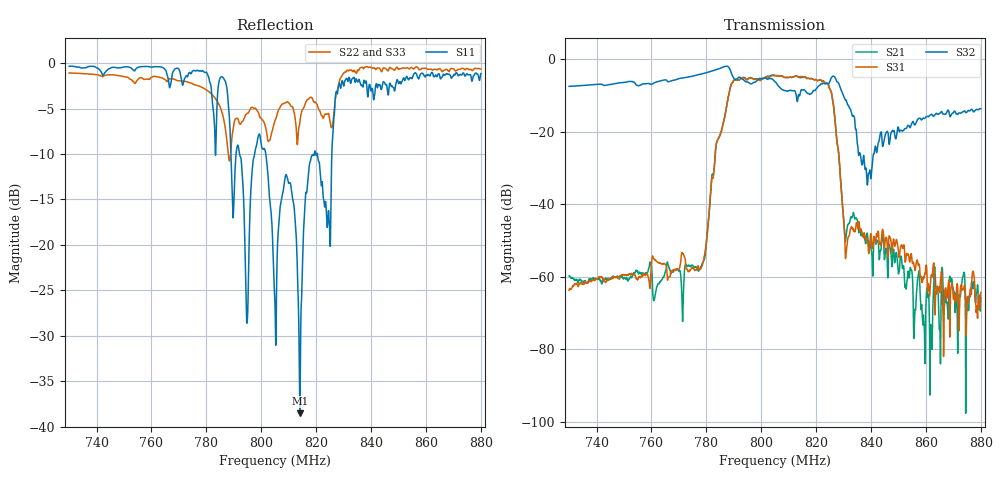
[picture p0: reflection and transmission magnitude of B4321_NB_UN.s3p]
! Matrix data file written by TouchstoneData, EPCOS AG
! FILENAME: "B4321_X10Y10_NB.snp"
! COMMENT: "(TS/B4321_X10Y10_NB.s3p) Epcos AG 2/4/2013 2"
! INFO: nport=3, nfreq=1601
! DATE: "Fri Mar  1 16:14:49 2013"
! USER: "Dan Wang"
! port | pin | signal
!  1  |  1  |  Input
!  2  |  3  |  Output
!  3  |  4  |  Output
# MHZ S RI R 50
! freq  reS11 imS11  reS12 imS12  reS13 imS13  ...
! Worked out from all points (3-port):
!   1601 points, 730 MHz to 880 MHz, reference 50 ohm
!   strongest paths, dB at 730 MHz, 767.5 MHz, 805 MHz, 842.5 MHz, 880 MHz:
!     S32: -7.4, -5.9, -6.2, -23.5, -13.6
!     S31: -63.7, -58.5, -4.5, -47.4, -64.3
!     S21: -59.8, -58.8, -4.4, -50.1, -65.9
!   lowest |S11| = -38.5 dB at 814.1 MHz (marker M1), VSWR 1.02, Z = 49.9 + j1.17 ohm
!   |S11| at or under -10 dB: 792.1 MHz to 797.6 MHz (5.485 MHz wide, 0.69 % of centre); 801.7 MHz to 819.3 MHz (17.65 MHz wide, 2.18 % of centre); 820.4 MHz to 825.7 MHz (5.279 MHz wide, 0.641 % of centre) (the widest 3 of 6)
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730  -0.574 -0.7726  -0.00102 -8.78e-05  -0.00064 -0.000116
     -0.00102 -8.78e-05  0.6045 -0.6464  0.317 0.2823
     -0.00064 -0.000116  0.317 0.2823  0.5985 -0.6523
771.3438  -0.6899 -0.3125  -0.000241 -1.18e-05  -0.00207 0.000292
          -0.000241 -1.18e-05  0.4353 -0.6679  0.4765 0.2823
          -0.00207 0.000292  0.4765 0.2823  0.4288 -0.6721
778.5625  -0.8981 -0.1483  -0.0015 -0.00034  -0.00129 0.000696
          -0.0015 -0.00034  0.3318 -0.6561  0.5769 0.261
          -0.00129 0.000696  0.5769 0.261  0.3273 -0.6573
789.25  -0.1052 0.1929  0.4657 0.0238  -0.4647 -0.0193
        0.4657 0.0238  0.3095 -0.2222  0.5919 -0.1853
        -0.4647 -0.0193  0.5919 -0.1853  0.3086 -0.2269
805  -0.0444 -0.0167  0.2803 0.5307  -0.2832 -0.5226
     0.2803 0.5307  0.4506 -0.1772  0.4357 -0.2213
     -0.2832 -0.5226  0.4357 -0.2213  0.4563 -0.1899
814.0938  -0.00136 0.0117  0.2146 -0.5136  -0.2311 0.529
          0.2146 -0.5136  0.4641 -0.1153  0.3249 -0.0446
          -0.2311 0.529  0.3249 -0.0446  0.4328 -0.135
825.1562  0.0976 0.0114  0.2148 0.3133  -0.2138 -0.3086
          0.2148 0.3133  0.4493 -0.1349  0.4483 -0.2554
          -0.2138 -0.3086  0.4483 -0.2554  0.456 -0.1395
831.1562  0.4881 -0.6643  0.00287 0.00329  -0.00184 -0.00173
          0.00287 0.00329  0.8983 -0.1573  -0.0112 -0.258
          -0.00184 -0.00173  -0.0112 -0.258  0.8905 -0.1706
839.2188  0.1948 -0.7214  0.00139 0.002  -0.000367 -0.00211
          0.00139 0.002  0.8754 -0.3731  0.0262 -0.0055
          -0.000367 -0.00211  0.0262 -0.0055  0.8667 -0.3862
880  -0.1212 -0.8689  -0.000415 -0.000293  -0.000583 -0.00017
     -0.000415 -0.000293  0.7405 -0.5629  0.149 0.1459
     -0.000583 -0.00017  0.149 0.1459  0.7408 -0.5625
